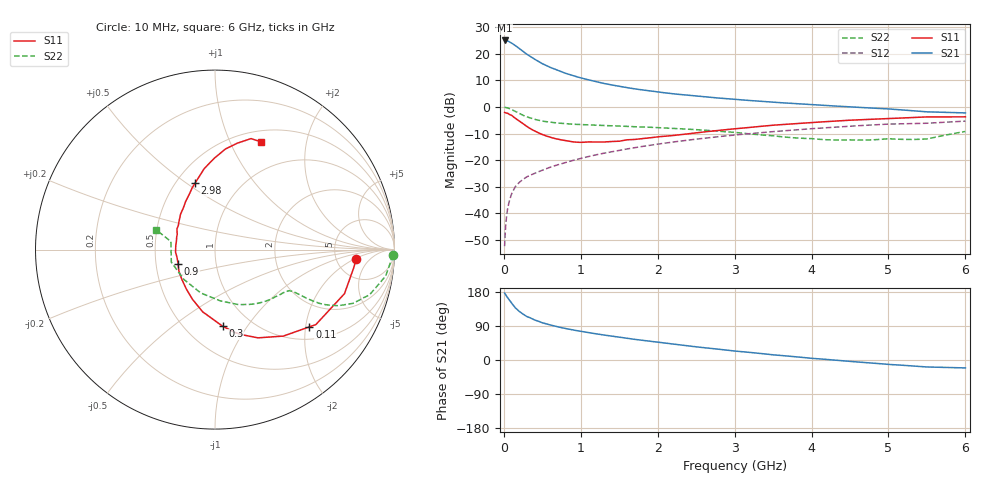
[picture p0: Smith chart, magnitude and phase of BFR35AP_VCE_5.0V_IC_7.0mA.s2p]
! Infineon Technologies  Discrete & RF Semiconductors
! BFR35AP
! VCE =  5.0 V,  IC =  7.0 mA
! Common Emitter S-Parameters:  Nov 2015
# GHz  S  MA  R  50
!  f  S11  S21  S12  S22
! GHz  MAG  ANG  MAG  ANG  MAG  ANG  MAG  ANG
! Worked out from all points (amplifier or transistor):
!   210 points, 10 MHz to 6 GHz, reference 50 ohm
!   highest |S21| = 25.1 dB at 10 MHz (marker M1)
!   |S21| within 3 dB of that: start of sweep to 199.8 MHz
!   unconditionally stable (mu >= 1): 719 MHz to 3.218 GHz
!   at 185 MHz: K = 0.46, MSG = 25.6 dB, |S12| = -28.8 dB
!   at 1.52 GHz: K = 1.11, MAG = 10.0 dB, |S12| = -16.2 dB
!   at 6 GHz: K = 0.93, MSG = 1.5 dB, |S12| = -5.3 dB
!   S11 on the Smith chart (normalised r, x): 10 MHz: 7.90, -2.13; 110 MHz: 1.31, -2.10; 300 MHz: 0.74, -0.78; 900 MHz: 0.65, -0.11; 2.98 GHz: 0.62, +0.54; 6 GHz: 0.63, +1.32
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0.01  0.789 -3.7  17.89 176.7  0.0024 90.8  0.9903 -1.7
0.025  0.7742 -9.4  17.78 171.7  0.0061 83.6  0.9788 -4.5
0.05  0.7621 -18.8  17.59 164.0  0.0124 81.4  0.9624 -8.8
0.1  0.7003 -36.6  16.07 150.1  0.023 71.6  0.8982 -16.2
0.11  0.6796 -39.3  15.66 147.8  0.0247 70.3  0.8829 -17.2
0.15  0.614 -51.7  14.34 137.4  0.0317 66.5  0.8246 -21.3
0.2  0.547 -64.0  12.66 128.2  0.038 63.3  0.7543 -24.5
0.24  0.4966 -72.6  11.38 122.4  0.0423 61.6  0.7082 -25.9
0.3  0.4285 -84.4  9.824 114.6  0.0485 60.1  0.6518 -27.3
0.4  0.3539 -101.1  7.937 105.6  0.0564 59.9  0.5849 -28.0
0.5  0.3037 -114.5  6.538 98.2  0.0645 60.1  0.5425 -28.0
0.6  0.2707 -126.4  5.595 92.6  0.0733 60.6  0.5183 -28.1
0.7  0.2481 -138.2  4.892 87.5  0.0815 61.6  0.4995 -28.2
0.9  0.2206 -158.5  3.878 79.1  0.0992 62.0  0.4739 -28.9
1.02  0.2163 -169.4  3.471 75.0  0.1094 62.2  0.4652 -29.8
1.4  0.2242 162.7  2.597 63.0  0.1434 61.0  0.4432 -34.1
2.02  0.2761 133.8  1.904 46.3  0.2018 57.1  0.408 -44.0
2.98  0.3856 106.9  1.4 24.2  0.295 48.0  0.3347 -66.3
3.1  0.4004 104.5  1.358 21.9  0.3061 46.5  0.3218 -70.0
4.1  0.5206 88.9  1.087 3.0  0.3992 34.4  0.2467 -113.6
5.1  0.6139 76.9  0.897 -12.8  0.4795 20.6  0.2483 -169.1
6  0.6526 66.8  0.774 -20.9  0.5422 10.1  0.3467 161.3
